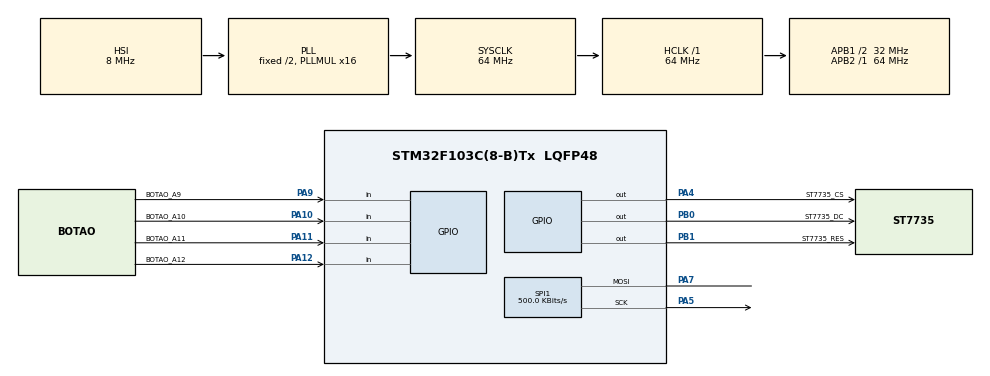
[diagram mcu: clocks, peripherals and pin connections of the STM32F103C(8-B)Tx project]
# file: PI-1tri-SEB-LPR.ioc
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Mcu.Family=STM32F1
Mcu.Name=STM32F103C(8-B)Tx
Mcu.Package=LQFP48
NVIC.PriorityGroup=NVIC_PRIORITYGROUP_4
PA10.GPIO_Label=BOTAO_A10
PA10.GPIO_PuPd=GPIO_PULLUP
PA10.Signal=GPIO_Input
PA11.GPIO_Label=BOTAO_A11
PA11.GPIO_PuPd=GPIO_PULLUP
PA11.Signal=GPIO_Input
PA12.GPIO_Label=BOTAO_A12
PA12.GPIO_PuPd=GPIO_PULLUP
PA12.Signal=GPIO_Input
PA13.Mode=Serial_Wire
PA13.Signal=SYS_JTMS-SWDIO
PA14.Mode=Serial_Wire
PA14.Signal=SYS_JTCK-SWCLK
PA4.GPIO_Label=ST7735_CS
PA4.Signal=GPIO_Output
PA5.Mode=Simplex_Bidirectional_Master
PA5.Signal=SPI1_SCK
PA7.Mode=Simplex_Bidirectional_Master
PA7.Signal=SPI1_MOSI
PA9.GPIO_Label=BOTAO_A9
PA9.GPIO_PuPd=GPIO_PULLUP
PA9.Signal=GPIO_Input
PB0.GPIO_Label=ST7735_DC
PB0.Signal=GPIO_Output
PB1.GPIO_Label=ST7735_RES
PB1.Signal=GPIO_Output
ProjectManager.HeapSize=0x200
ProjectManager.StackSize=0x400
ProjectManager.TargetToolchain=STM32CubeIDE
RCC.AHBFreq_Value=64000000
RCC.APB1CLKDivider=RCC_HCLK_DIV2
RCC.APB1Freq_Value=32000000
RCC.APB1TimFreq_Value=64000000
RCC.APB2Freq_Value=64000000
RCC.APB2TimFreq_Value=64000000
RCC.HCLKFreq_Value=64000000
RCC.PLLMUL=RCC_PLL_MUL16
RCC.SYSCLKFreq_VALUE=64000000
RCC.SYSCLKSource=RCC_SYSCLKSOURCE_PLLCLK
RCC.USBFreq_Value=64000000
SPI1.BaudRatePrescaler=SPI_BAUDRATEPRESCALER_128
SPI1.CalculateBaudRate=500.0 KBits/s
SPI1.Direction=SPI_DIRECTION_1LINE
SPI1.Mode=SPI_MODE_MASTER
SPI1.VirtualType=VM_MASTER
board=custom

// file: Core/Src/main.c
/* USER CODE BEGIN Header */
/**
  ******************************************************************************
  * @file           : main.c
  * @brief          : Main program body
  ******************************************************************************
  * @attention
  *
  * <h2><center>&copy; Copyright (c) 2026 STMicroelectronics.
  * All rights reserved.</center></h2>
  *
  * This software component is licensed by ST under BSD 3-Clause license,
  * the "License"; You may not use this file except in compliance with the
  * License. You may obtain a copy of the License at:
  *                        opensource.org/licenses/BSD-3-Clause
  *
  ******************************************************************************
  */
/* USER CODE END Header */
#include "main.h"

/* USER CODE BEGIN Includes */
#include <stdio.h>
#include <stdlib.h>
#include "st7735\st7735.h"
/* USER CODE END Includes */

/* USER CODE BEGIN PD */
// Comandos de Leitura dos botões
#define LER_BOTAO_A9		HAL_GPIO_ReadPin(BOTAO_A9_GPIO_Port, BOTAO_A9_Pin)
#define LER_BOTAO_A10		HAL_GPIO_ReadPin(BOTAO_A10_GPIO_Port, BOTAO_A10_Pin)
#define LER_BOTAO_A11		HAL_GPIO_ReadPin(BOTAO_A11_GPIO_Port, BOTAO_A11_Pin)
#define LER_BOTAO_A12		HAL_GPIO_ReadPin(BOTAO_A12_GPIO_Port, BOTAO_A12_Pin)
// Cores RGB565
#define ST7735_PRETO   		0x0000
#define ST7735_BRANCO   	0xFFFF
#define ST7735_VERMELHO     0xF800
#define ST7735_AZUL    		0x1F9D
#define ST7735_VERDE  		0x07D3
#define ST7735_VERDE2		0x0461
/* USER CODE END PD */

SPI_HandleTypeDef hspi1;

/* USER CODE BEGIN PV */
GPIO_PinState botaoA9, botaoA10, botaoA11, botaoA12;
int qtdeAlunos, tentativas, senha[4], entrada[4], matriculaLida;
int alunosPresentes = 0, totalSaidas = 0, alunosFora = 0, totalBloqueios = 0;
int presentesAnterior = -1, foraAnterior = -1;
char alunos[30], segundos[5]; // Textos
int maxFora = 3; // Limites de aluno fora de sala
/* USER CODE END PV */

void SystemClock_Config(void);
static void MX_GPIO_Init(void);
static void MX_SPI1_Init(void);
/* USER CODE BEGIN PFP */
void menuBemVindo(void);
int etapa1(void);
void etapa2(void);
void etapa3(void);
void menuSenha(void);
void menuQtdeAlunos(void);
void menuAula(void);
void menuMatricula(void);
void atualizarAlunos(void);
/* USER CODE END PFP */

int main(void)
{

  /* MCU Configuration--------------------------------------------------------*/

  /* Reset of all peripherals, Initializes the Flash interface and the Systick. */
  HAL_Init();

  /* Configure the system clock */
  SystemClock_Config();

  /* Initialize all configured peripherals */
  MX_GPIO_Init();
  MX_SPI1_Init();
  /* USER CODE BEGIN 2 */
  ST7735_Init();
  /* USER CODE END 2 */

  /* Infinite loop */
  /* USER CODE BEGIN WHILE */
  while (1)
  {
	  HAL_Delay(100);
	  menuBemVindo();

	  if (etapa1()) { // Só avança se a senha estiver correta
		  etapa2();
		  etapa3();
	  }
    /* USER CODE END WHILE */

  }
}

void SystemClock_Config(void)
{
  RCC_OscInitTypeDef RCC_OscInitStruct = {0};
  RCC_ClkInitTypeDef RCC_ClkInitStruct = {0};

  /** Initializes the RCC Oscillators according to the specified parameters
  * in the RCC_OscInitTypeDef structure.
  */
  RCC_OscInitStruct.OscillatorType = RCC_OSCILLATORTYPE_HSI;
  RCC_OscInitStruct.HSIState = RCC_HSI_ON;
  RCC_OscInitStruct.HSICalibrationValue = RCC_HSICALIBRATION_DEFAULT;
  RCC_OscInitStruct.PLL.PLLState = RCC_PLL_ON;
  RCC_OscInitStruct.PLL.PLLSource = RCC_PLLSOURCE_HSI_DIV2;
  RCC_OscInitStruct.PLL.PLLMUL = RCC_PLL_MUL16;
  if (HAL_RCC_OscConfig(&RCC_OscInitStruct) != HAL_OK)
  {
    Error_Handler();
  }
  /** Initializes the CPU, AHB and APB buses clocks
  */
  RCC_ClkInitStruct.ClockType = RCC_CLOCKTYPE_HCLK|RCC_CLOCKTYPE_SYSCLK
                              |RCC_CLOCKTYPE_PCLK1|RCC_CLOCKTYPE_PCLK2;
  RCC_ClkInitStruct.SYSCLKSource = RCC_SYSCLKSOURCE_PLLCLK;
  RCC_ClkInitStruct.AHBCLKDivider = RCC_SYSCLK_DIV1;
  RCC_ClkInitStruct.APB1CLKDivider = RCC_HCLK_DIV2;
  RCC_ClkInitStruct.APB2CLKDivider = RCC_HCLK_DIV1;

  if (HAL_RCC_ClockConfig(&RCC_ClkInitStruct, FLASH_LATENCY_2) != HAL_OK)
  {
    Error_Handler();
  }
}

static void MX_SPI1_Init(void)
{

  /* SPI1 parameter configuration*/
  hspi1.Instance = SPI1;
  hspi1.Init.Mode = SPI_MODE_MASTER;
  hspi1.Init.Direction = SPI_DIRECTION_1LINE;
  hspi1.Init.DataSize = SPI_DATASIZE_8BIT;
  hspi1.Init.CLKPolarity = SPI_POLARITY_LOW;
  hspi1.Init.CLKPhase = SPI_PHASE_1EDGE;
  hspi1.Init.NSS = SPI_NSS_SOFT;
  hspi1.Init.BaudRatePrescaler = SPI_BAUDRATEPRESCALER_128;
  hspi1.Init.FirstBit = SPI_FIRSTBIT_MSB;
  hspi1.Init.TIMode = SPI_TIMODE_DISABLE;
  hspi1.Init.CRCCalculation = SPI_CRCCALCULATION_DISABLE;
  hspi1.Init.CRCPolynomial = 10;
  if (HAL_SPI_Init(&hspi1) != HAL_OK)
  {
    Error_Handler();
  }

}

static void MX_GPIO_Init(void)
{
  GPIO_InitTypeDef GPIO_InitStruct = {0};

  /* GPIO Ports Clock Enable */
  __HAL_RCC_GPIOA_CLK_ENABLE();
  __HAL_RCC_GPIOB_CLK_ENABLE();

  /*Configure GPIO pin Output Level */
  HAL_GPIO_WritePin(ST7735_CS_GPIO_Port, ST7735_CS_Pin, GPIO_PIN_RESET);

  /*Configure GPIO pin Output Level */
  HAL_GPIO_WritePin(GPIOB, ST7735_DC_Pin|ST7735_RES_Pin, GPIO_PIN_RESET);

  /*Configure GPIO pin : ST7735_CS_Pin */
  GPIO_InitStruct.Pin = ST7735_CS_Pin;
  GPIO_InitStruct.Mode = GPIO_MODE_OUTPUT_PP;
  GPIO_InitStruct.Pull = GPIO_NOPULL;
  GPIO_InitStruct.Speed = GPIO_SPEED_FREQ_LOW;
  HAL_GPIO_Init(ST7735_CS_GPIO_Port, &GPIO_InitStruct);

  /*Configure GPIO pins : ST7735_DC_Pin ST7735_RES_Pin */
  GPIO_InitStruct.Pin = ST7735_DC_Pin|ST7735_RES_Pin;
  GPIO_InitStruct.Mode = GPIO_MODE_OUTPUT_PP;
  GPIO_InitStruct.Pull = GPIO_NOPULL;
  GPIO_InitStruct.Speed = GPIO_SPEED_FREQ_LOW;
  HAL_GPIO_Init(GPIOB, &GPIO_InitStruct);

  /*Configure GPIO pins : BOTAO_A9_Pin BOTAO_A10_Pin BOTAO_A11_Pin BOTAO_A12_Pin */
  GPIO_InitStruct.Pin = BOTAO_A9_Pin|BOTAO_A10_Pin|BOTAO_A11_Pin|BOTAO_A12_Pin;
  GPIO_InitStruct.Mode = GPIO_MODE_INPUT;
  GPIO_InitStruct.Pull = GPIO_PULLUP;
  HAL_GPIO_Init(GPIOA, &GPIO_InitStruct);

}

/* USER CODE BEGIN 4 */
  void menuBemVindo(void) {
	  ST7735_FillScreen(ST7735_PRETO);
	  ST7735_WriteString(8, 10, "Bem-vindo ao sistema", Font_7x10, ST7735_BRANCO, ST7735_PRETO);
	  ST7735_WriteString(8, 23, "gerenciador de aulas", Font_7x10, ST7735_BRANCO, ST7735_PRETO);
	  ST7735_WriteString(31, 45, "Pressione PA10", Font_7x10, ST7735_VERDE, ST7735_PRETO);
	  ST7735_WriteString(38, 58, "para iniciar", Font_7x10, ST7735_VERDE, ST7735_PRETO);
  }

  int etapa1(void) {
	  botaoA10 = LER_BOTAO_A10;
	  while (botaoA10 != GPIO_PIN_RESET) {
		  botaoA10 = LER_BOTAO_A10;
	  }
	  HAL_Delay(100);
	  while (botaoA10 == GPIO_PIN_RESET) {
		  botaoA10 = LER_BOTAO_A10;
	  }

	  uint32_t seed = HAL_GetTick(); // Gerar seed para senha aleatória
	  srand(seed);

	  for (int i = 0; i < 4; i++) {
		  senha[i] = (rand() % 4) + 1; // Senha aleatória de 4 dígitos
		  entrada[i] = 0;
	  }

	  tentativas = 0;

	  while (1) {
		  int indice = 0;
		  HAL_Delay(100);
		  menuSenha();

		  while (indice < 4) {
			  botaoA9 = LER_BOTAO_A9;
			  botaoA10 = LER_BOTAO_A10;
			  botaoA11 = LER_BOTAO_A11;
			  botaoA12 = LER_BOTAO_A12;

			  if (botaoA9 == GPIO_PIN_RESET) {
				  HAL_Delay(100);
				  while (botaoA9 == GPIO_PIN_RESET) {
					  botaoA9 = LER_BOTAO_A9;
				  }
				  entrada[indice++] = 1;
				  switch (indice) {
				  case 1:
					  ST7735_WriteString(50, 63, "1", Font_7x10, ST7735_BRANCO, ST7735_PRETO); break;
				  case 2:
					  ST7735_WriteString(59, 63, "1", Font_7x10, ST7735_BRANCO, ST7735_PRETO); break;
				  case 3:
					  ST7735_WriteString(68, 63, "1", Font_7x10, ST7735_BRANCO, ST7735_PRETO); break;
				  case 4:
					  ST7735_WriteString(77, 63, "1", Font_7x10, ST7735_BRANCO, ST7735_PRETO); break;
				  }
			  }
			  else if (botaoA10 == GPIO_PIN_RESET) {
				  HAL_Delay(100);
				  while (botaoA10 == GPIO_PIN_RESET) {
					  botaoA10 = LER_BOTAO_A10;
				  }
				  entrada[indice++] = 2;
				  switch (indice) {
				  case 1:
					  ST7735_WriteString(50, 63, "2", Font_7x10, ST7735_BRANCO, ST7735_PRETO); break;
				  case 2:
					  ST7735_WriteString(59, 63, "2", Font_7x10, ST7735_BRANCO, ST7735_PRETO); break;
			  	  case 3:
			  		  ST7735_WriteString(68, 63, "2", Font_7x10, ST7735_BRANCO, ST7735_PRETO); break;
			  	  case 4:
			  		  ST7735_WriteString(77, 63, "2", Font_7x10, ST7735_BRANCO, ST7735_PRETO); break;
				  }
			  }
			  else if (botaoA11 == GPIO_PIN_RESET) {
				  HAL_Delay(100);
				  while (botaoA11 == GPIO_PIN_RESET) {
					  botaoA11 = LER_BOTAO_A11;
				  }
				  entrada[indice++] = 3;
				  switch (indice) {
				  case 1:
					  ST7735_WriteString(50, 63, "3", Font_7x10, ST7735_BRANCO, ST7735_PRETO); break;
				  case 2:
					  ST7735_WriteString(59, 63, "3", Font_7x10, ST7735_BRANCO, ST7735_PRETO); break;
				  case 3:
					  ST7735_WriteString(68, 63, "3", Font_7x10, ST7735_BRANCO, ST7735_PRETO); break;
				  case 4:
					  ST7735_WriteString(77, 63, "3", Font_7x10, ST7735_BRANCO, ST7735_PRETO); break;
				  }
			  }
			  else if (botaoA12 == GPIO_PIN_RESET) {
				  HAL_Delay(100);
				  while (botaoA12 == GPIO_PIN_RESET) {
					  botaoA12 = LER_BOTAO_A12;
				  }
				  entrada[indice++] = 4;
				  switch (indice) {
				  case 1:
					  ST7735_WriteString(50, 63, "4", Font_7x10, ST7735_BRANCO, ST7735_PRETO); break;
			  	  case 2:
			  		  ST7735_WriteString(59, 63, "4", Font_7x10, ST7735_BRANCO, ST7735_PRETO); break;
			  	  case 3:
			  		  ST7735_WriteString(68, 63, "4", Font_7x10, ST7735_BRANCO, ST7735_PRETO); break;
			  	  case 4:
			  		  ST7735_WriteString(77, 63, "4", Font_7x10, ST7735_BRANCO, ST7735_PRETO); break;
				  }
			  }
		  }

		  _Bool correto = 1;
		  for (int i = 0; i < 4; i++) { // Conferência da senha dígito por dígito
			  if (entrada[i] != senha[i]) {
				  correto = 0;
				  break;
			  }
		  }

		  if (correto) {
			  ST7735_FillScreen(ST7735_PRETO);
			  ST7735_WriteString(25, 35, "Acesso liberado", Font_7x10, ST7735_VERDE, ST7735_PRETO);
			  HAL_Delay(2000);
			  return 1;
		  }
		  else {
			  tentativas++;
			  if (tentativas >= 3) {
				  totalBloqueios++;
				  if (totalBloqueios >= 2) {
					  ST7735_FillScreen(ST7735_PRETO);
					  ST7735_WriteString(18, 25, "Sistema bloqueado", Font_7x10, ST7735_VERMELHO, ST7735_PRETO);
					  ST7735_WriteString(13, 43, "TEMPO INDETERMINADO", Font_7x10, ST7735_VERMELHO, ST7735_PRETO);
					  while (1) { // Bloqueio permanente - Reiniciar placa
					  }
				  }
				  ST7735_FillScreen(ST7735_PRETO);
				  ST7735_WriteString(18, 20, "Sistema bloqueado", Font_7x10, ST7735_VERMELHO, ST7735_PRETO);
				  ST7735_WriteString(21, 38, "Voltando ao menu", Font_7x10, ST7735_VERMELHO, ST7735_PRETO);

				  for (int i = 15; i > 0; i--) { // Bloqueio de 15 segundos
					  sprintf(segundos, "%d", i);
					  ST7735_WriteString(75, 56, segundos, Font_7x10, ST7735_VERMELHO, ST7735_PRETO);
					  HAL_Delay(1000);
					  ST7735_WriteString(75, 56, "   ", Font_7x10, ST7735_PRETO, ST7735_PRETO);
				  }
				  tentativas = 0;
				  return 0; // Volta ao menu de bem-vindo
			  }
			  else {
				  ST7735_FillScreen(ST7735_PRETO);
				  ST7735_WriteString(25, 25, "Senha incorreta", Font_7x10, ST7735_VERMELHO, ST7735_PRETO);
				  ST7735_WriteString(25, 43, "Tente novamente", Font_7x10, ST7735_VERMELHO, ST7735_PRETO);
				  HAL_Delay(3000);
			  }
		  }
	  }
  }

  void etapa2(void) {
	  qtdeAlunos = 0;
	  HAL_Delay(100);
	  menuQtdeAlunos();

	  while (1) {
		  botaoA9 = LER_BOTAO_A9;
		  botaoA10 = LER_BOTAO_A10;
		  botaoA11 = LER_BOTAO_A11;
		  botaoA12 = LER_BOTAO_A12;

		  if (botaoA9 == GPIO_PIN_RESET) {
			  HAL_Delay(100);
			  while (botaoA9 == GPIO_PIN_RESET) {
				  botaoA9 = LER_BOTAO_A9;
			  }
			  qtdeAlunos += 5;
			  sprintf(alunos, "%d ", qtdeAlunos);
			  ST7735_WriteString(50, 65, alunos, Font_7x10, ST7735_BRANCO, ST7735_PRETO);
		  }
		  else if (botaoA10 == GPIO_PIN_RESET) {
			  HAL_Delay(100);
			  while (botaoA10 == GPIO_PIN_RESET) {
				  botaoA10 = LER_BOTAO_A10;
			  }
			  qtdeAlunos += 1;
			  sprintf(alunos, "%d ", qtdeAlunos);
			  ST7735_WriteString(50, 65, alunos, Font_7x10, ST7735_BRANCO, ST7735_PRETO);
		  }
		  else if (botaoA11 == GPIO_PIN_RESET) {
			  HAL_Delay(100);
			  while (botaoA11 == GPIO_PIN_RESET) {
				  botaoA11 = LER_BOTAO_A11;
			  }
			  if (qtdeAlunos > 0) {
				  qtdeAlunos -= 1;
				  sprintf(alunos, "%d ", qtdeAlunos);
				  ST7735_WriteString(50, 65, alunos, Font_7x10, ST7735_BRANCO, ST7735_PRETO);
			  }
			  else {
				  ST7735_FillScreen(ST7735_PRETO);
				  ST7735_WriteString(62, 25, "Erro:", Font_7x10, ST7735_VERMELHO, ST7735_PRETO);
				  ST7735_WriteString(13, 43, "Quantidade negativa", Font_7x10, ST7735_VERMELHO, ST7735_PRETO);
				  HAL_Delay(2000);
				  menuQtdeAlunos();
			  }
		  }
		  else if (botaoA12 == GPIO_PIN_RESET) {
			  HAL_Delay(100);
			  while (botaoA12 == GPIO_PIN_RESET) {
				  botaoA12 = LER_BOTAO_A12;
			  }
			  if (qtdeAlunos > 0) { // Mínimo de 1 aluno na turma
				  sprintf(alunos, "com %d alunos", qtdeAlunos);
				  ST7735_FillScreen(ST7735_PRETO);
				  ST7735_WriteString(24, 25, "Turma confirmada", Font_7x10, ST7735_VERDE, ST7735_PRETO);
				  ST7735_WriteString(35, 43, alunos, Font_7x10, ST7735_VERDE, ST7735_PRETO);
				  HAL_Delay(2000);
				  break;
			  }
			  else {
				  ST7735_FillScreen(ST7735_PRETO);
				  ST7735_WriteString(62, 25, "Erro:", Font_7x10, ST7735_VERMELHO, ST7735_PRETO);
				  ST7735_WriteString(31, 43, "Minimo 1 aluno", Font_7x10, ST7735_VERMELHO, ST7735_PRETO);
				  HAL_Delay(2000);
				  menuQtdeAlunos();
			  }
		  }
	  }
  }

  void etapa3() {
	  alunosPresentes = 0;
	  totalSaidas = 0;
	  alunosFora = 0;
	  _Bool aulaEmCurso = 1;
	  uint32_t inicioAula = HAL_GetTick(); // Tempo de início da aula

	  HAL_Delay(100);
	  menuAula();

	  while (aulaEmCurso) { // Só atualiza a barra se os valores tiverem sido alterados
		  if (alunosPresentes != presentesAnterior || alunosFora != foraAnterior) {
			  atualizarAlunos();
		  }

		  botaoA9 = LER_BOTAO_A9;
		  botaoA10 = LER_BOTAO_A10;
		  botaoA11 = LER_BOTAO_A11;
		  botaoA12 = LER_BOTAO_A12;

		  if (botaoA9 == GPIO_PIN_RESET) { // Entrada de aluno
			  HAL_Delay(100);
			  while (botaoA9 == GPIO_PIN_RESET) {
				  botaoA9 = LER_BOTAO_A9;
	  		  }
	  		  if (alunosPresentes < qtdeAlunos) { // Não pode exceder o limite
	  			menuMatricula();
	  			matriculaLida = 99999;

	  			// Simulação de leitor de matrícula - Espera variável no Debug
	  			while (matriculaLida == 99999) {
	  				botaoA11 = LER_BOTAO_A11;
	  				botaoA12 = LER_BOTAO_A12;
	  				if (botaoA11 == GPIO_PIN_RESET && botaoA12 == GPIO_PIN_RESET) {
	  					HAL_Delay(100);
	  					botaoA11 = LER_BOTAO_A11;
	  					botaoA12 = LER_BOTAO_A12;
	  					if (botaoA11 == GPIO_PIN_RESET && botaoA12 == GPIO_PIN_RESET) {
	  						while (botaoA11 == GPIO_PIN_RESET || botaoA12 == GPIO_PIN_RESET) {
	  							botaoA11 = LER_BOTAO_A11;
	  							botaoA12 = LER_BOTAO_A12;
	  						}
	  						matriculaLida = 9999; // Valor padrão caso não digite nada
	  					}
	  				}
	  			}

	  			if (matriculaLida == 9999) {
	  				alunosPresentes++;
	  				ST7735_FillScreen(ST7735_PRETO);
	  				ST7735_WriteString(17, 38, "Entrada confirmada", Font_7x10, ST7735_VERDE, ST7735_PRETO);
	  				HAL_Delay(2000);
	  			}
	  			else if (matriculaLida == 0) {
	  				ST7735_FillScreen(ST7735_PRETO);
	  				ST7735_WriteString(62, 25, "Erro:", Font_7x10, ST7735_VERMELHO, ST7735_PRETO);
	  				ST7735_WriteString(17, 43, "Matricula invalida", Font_7x10, ST7735_VERMELHO, ST7735_PRETO);
	  				HAL_Delay(2000);
	  			}
	  			else {
	  				alunosPresentes++;
	  				ST7735_FillScreen(ST7735_PRETO);
	  				ST7735_WriteString(17, 25, "Entrada confirmada", Font_7x10, ST7735_VERDE, ST7735_PRETO);
	  				sprintf(alunos, "Matricula: %d", matriculaLida);
	  				ST7735_WriteString(27, 43, alunos, Font_7x10, ST7735_BRANCO, ST7735_PRETO);
	  				HAL_Delay(2000);
	  			}
	  			matriculaLida = 0;
	  			HAL_Delay(100);
	  			menuAula();
	  		  }
	  		  else {
	  			  ST7735_FillScreen(ST7735_PRETO);
	  			  ST7735_WriteString(62, 25, "Erro:", Font_7x10, ST7735_VERMELHO, ST7735_PRETO);
	  		      ST7735_WriteString(38, 43, "Turma lotada", Font_7x10, ST7735_VERMELHO, ST7735_PRETO);
	  			  HAL_Delay(2000);
	  			  menuAula();
	  		  }
	  	  }
		  else if (botaoA10 == GPIO_PIN_RESET) { // Saída de aluno
	  		  HAL_Delay(100);
	  		  while (botaoA10 == GPIO_PIN_RESET) {
	  			botaoA10 = LER_BOTAO_A10;
	  		  }
	  		  if (alunosFora >= maxFora) { // Não sair mais do que o permitido
	  			  ST7735_FillScreen(ST7735_PRETO);
	  			  sprintf(alunos, "Maximo %d fora", maxFora);
	  			  ST7735_WriteString(62, 25, "Erro:", Font_7x10, ST7735_VERMELHO, ST7735_PRETO);
	  			  ST7735_WriteString(34, 43, alunos, Font_7x10, ST7735_VERMELHO, ST7735_PRETO);
	  		  }
	  		  else if (alunosPresentes <= alunosFora) {
	  			  ST7735_FillScreen(ST7735_PRETO);
	  			  ST7735_WriteString(62, 25, "Erro:", Font_7x10, ST7735_VERMELHO, ST7735_PRETO);
	  			  ST7735_WriteString(45, 43, "Sala vazia", Font_7x10, ST7735_VERMELHO, ST7735_PRETO);
	  		  }
	  		  else {
	  			  ST7735_FillScreen(ST7735_PRETO);
	  			  ST7735_WriteString(31, 38, "Saida liberada", Font_7x10, ST7735_VERDE, ST7735_PRETO);
	  			  alunosFora++;
	  			  totalSaidas++;
	  		  }
	  		  HAL_Delay(2000);
	  		  menuAula();
	  	  }
		  // PA11+PA12 encerra aula - PA11 retorna aluno
		  else if (botaoA11 == GPIO_PIN_RESET || botaoA12 == GPIO_PIN_RESET) {
			  HAL_Delay(100);
			  botaoA11 = LER_BOTAO_A11;
			  botaoA12 = LER_BOTAO_A12;
	  		  if (botaoA11 == GPIO_PIN_RESET && botaoA12 == GPIO_PIN_RESET) {
	  			  botaoA11 = LER_BOTAO_A11;
	  			  botaoA12 = LER_BOTAO_A12;
	  			  while (botaoA11 == GPIO_PIN_RESET || botaoA12 == GPIO_PIN_RESET) {
	  				botaoA11 = LER_BOTAO_A11;
	  				botaoA12 = LER_BOTAO_A12;
	  			  }
	  			  if (alunosFora > 0) { // Impede encerrar a aula com alunos para fora
	  				  ST7735_FillScreen(ST7735_PRETO);
	  				  ST7735_WriteString(20, 25, "Nao pode encerrar", Font_7x10, ST7735_VERMELHO, ST7735_PRETO);
	  				  ST7735_WriteString(27, 43, "com alunos fora", Font_7x10, ST7735_VERMELHO, ST7735_PRETO);
	  				  HAL_Delay(2000);
	  				  menuAula();
	  			  }
	  		      else {
	  				  aulaEmCurso = 0; // Quebra o while de execução da aula
	  			  }
	  		  }
	  		  else if (botaoA11 == GPIO_PIN_RESET) {
	  			  while (botaoA11 == GPIO_PIN_RESET) {
	  				botaoA11 = LER_BOTAO_A11;
	  			  }
	  			  if (alunosFora > 0) {
	  				  ST7735_FillScreen(ST7735_PRETO);
	  				  ST7735_WriteString(24, 38, "Volta registrada", Font_7x10, ST7735_VERDE, ST7735_PRETO);
	  				  alunosFora--;
	  			  }
	  			  else {
	  				  ST7735_FillScreen(ST7735_PRETO);
	  				  ST7735_WriteString(62, 25, "Erro:", Font_7x10, ST7735_VERMELHO, ST7735_PRETO);
	  				  ST7735_WriteString(38, 43, "Ninguem fora", Font_7x10, ST7735_VERMELHO, ST7735_PRETO);
	  			  }
	  			  HAL_Delay(2000);
	  			  menuAula();
	  		  }
	  		  else if (botaoA12 == GPIO_PIN_RESET) {
	  			  while (botaoA12 == GPIO_PIN_RESET) {
	  				botaoA12 = LER_BOTAO_A12;
	  			  }
	  		  }
	  	  }
	  }

	  uint32_t fimAula = HAL_GetTick(); // Tempo de fim da aula
	  uint32_t tempoAula = (fimAula - inicioAula) / 1000; // Cálculo do tempo em segundos
	  int minutos = tempoAula / 60;
	  int segs = tempoAula % 60;

	  ST7735_FillScreen(ST7735_PRETO);
	  ST7735_WriteString(31, 10, "AULA ENCERRADA", Font_7x10, ST7735_VERMELHO, ST7735_PRETO);

	  ST7735_WriteString(5, 25, "Total Registrados:", Font_7x10, ST7735_AZUL, ST7735_PRETO);
	  sprintf(alunos, "%d", alunosPresentes);
	  ST7735_WriteString(138, 25, alunos, Font_7x10, ST7735_BRANCO, ST7735_PRETO);

	  ST7735_WriteString(5, 37, "Total de Saidas:", Font_7x10, ST7735_AZUL, ST7735_PRETO);
	  sprintf(alunos, "%d", totalSaidas);
	  ST7735_WriteString(124, 37, alunos, Font_7x10, ST7735_BRANCO, ST7735_PRETO);

	  ST7735_WriteString(5, 49, "Tempo de Aula:", Font_7x10, ST7735_AZUL, ST7735_PRETO);
	  sprintf(alunos, "%d:%02d", minutos, segs);
	  ST7735_WriteString(110, 49, alunos, Font_7x10, ST7735_BRANCO, ST7735_PRETO);

	  ST7735_WriteString(5, 65, "Reiniciando...", Font_7x10, ST7735_VERMELHO, ST7735_PRETO);
	  HAL_Delay(20000);
  }

  void menuSenha() {
	  ST7735_FillScreen(ST7735_PRETO);
	  ST7735_WriteString(5, 5, "Digite a senha:", Font_7x10, ST7735_VERDE, ST7735_PRETO);
	  ST7735_WriteString(5, 30, "PA9:  ", Font_7x10, ST7735_AZUL, ST7735_PRETO);
	  ST7735_WriteString(42, 30, "1", Font_7x10, ST7735_BRANCO, ST7735_PRETO);
	  ST7735_WriteString(5, 42, "PA10: ", Font_7x10, ST7735_AZUL, ST7735_PRETO);
	  ST7735_WriteString(42, 42, "2", Font_7x10, ST7735_BRANCO, ST7735_PRETO);
	  ST7735_WriteString(80, 30, "PA11: ", Font_7x10, ST7735_AZUL, ST7735_PRETO);
	  ST7735_WriteString(117, 30, "3", Font_7x10, ST7735_BRANCO, ST7735_PRETO);
	  ST7735_WriteString(80, 42, "PA12: ", Font_7x10, ST7735_AZUL, ST7735_PRETO);
	  ST7735_WriteString(117, 42, "4", Font_7x10, ST7735_BRANCO, ST7735_PRETO);
	  ST7735_WriteString(5, 65, "Senha:", Font_7x10, ST7735_VERDE, ST7735_PRETO);
	  ST7735_WriteString(50, 65, "_", Font_7x10, ST7735_BRANCO, ST7735_PRETO);
	  ST7735_WriteString(59, 65, "_", Font_7x10, ST7735_BRANCO, ST7735_PRETO);
	  ST7735_WriteString(68, 65, "_", Font_7x10, ST7735_BRANCO, ST7735_PRETO);
	  ST7735_WriteString(77, 65, "_", Font_7x10, ST7735_BRANCO, ST7735_PRETO);
  }

  void menuQtdeAlunos() {
	  ST7735_FillScreen(ST7735_PRETO);
	  ST7735_WriteString(5, 5, "Quantidade de alunos", Font_7x10, ST7735_VERDE, ST7735_PRETO);
	  ST7735_WriteString(5, 30, "PA9:  ", Font_7x10, ST7735_AZUL, ST7735_PRETO);
	  ST7735_WriteString(42, 30, "+5", Font_7x10, ST7735_BRANCO, ST7735_PRETO);
	  ST7735_WriteString(5, 42, "PA10: ", Font_7x10, ST7735_AZUL, ST7735_PRETO);
	  ST7735_WriteString(42, 42, "+1", Font_7x10, ST7735_BRANCO, ST7735_PRETO);
	  ST7735_WriteString(80, 30, "PA11: ", Font_7x10, ST7735_AZUL, ST7735_PRETO);
	  ST7735_WriteString(117, 30, "-1", Font_7x10, ST7735_BRANCO, ST7735_PRETO);
	  ST7735_WriteString(80, 42, "PA12: ", Font_7x10, ST7735_AZUL, ST7735_PRETO);
	  ST7735_WriteString(117, 42, "OK", Font_7x10, ST7735_BRANCO, ST7735_PRETO);
	  ST7735_WriteString(5, 65, "Total:    alunos", Font_7x10, ST7735_VERDE, ST7735_PRETO);
	  sprintf(alunos, "%d ", qtdeAlunos);
	  ST7735_WriteString(50, 65, alunos, Font_7x10, ST7735_BRANCO, ST7735_PRETO);
  }

  void menuAula() {
	  ST7735_FillScreen(ST7735_PRETO);
	  ST7735_WriteString(5, 5, "Presentes:", Font_7x10, ST7735_AZUL, ST7735_PRETO);
	  ST7735_WriteString(5, 17, "Fora de sala:", Font_7x10, ST7735_AZUL, ST7735_PRETO);
	  ST7735_WriteString(5, 29, "PA9:", Font_7x10, ST7735_AZUL, ST7735_PRETO);
	  ST7735_WriteString(40, 29, "Chegada", Font_7x10, ST7735_BRANCO, ST7735_PRETO);
	  ST7735_WriteString(5, 41, "PA10:", Font_7x10, ST7735_AZUL, ST7735_PRETO);
	  ST7735_WriteString(47, 41, "Saida", Font_7x10, ST7735_BRANCO, ST7735_PRETO);
	  ST7735_WriteString(5, 53, "PA11:", Font_7x10, ST7735_AZUL, ST7735_PRETO);
	  ST7735_WriteString(47, 53, "Volta", Font_7x10, ST7735_BRANCO, ST7735_PRETO);
	  ST7735_WriteString(5, 65, "PA11+PA12:", Font_7x10, ST7735_AZUL, ST7735_PRETO);
	  ST7735_WriteString(82, 65, "Fim", Font_7x10, ST7735_BRANCO, ST7735_PRETO);

	  presentesAnterior = -1; // Reseta os estados de controle
	  foraAnterior = -1;
  }

  void menuMatricula() {
	  ST7735_FillScreen(ST7735_PRETO);
	  ST7735_WriteString(17, 15, "Cadastro Matricula", Font_7x10, ST7735_VERDE, ST7735_PRETO);
	  ST7735_WriteString(10, 27, "Insira ID pelo Debug", Font_7x10, ST7735_VERDE, ST7735_PRETO);
	  ST7735_WriteString(38, 45, "ou pressione", Font_7x10, ST7735_AZUL, ST7735_PRETO);
	  ST7735_WriteString(10, 57, "PA11+PA12 para pular", Font_7x10, ST7735_AZUL, ST7735_PRETO);
  }

  void atualizarAlunos() {
	  sprintf(alunos, "%d / %d ", alunosPresentes, qtdeAlunos);
	  ST7735_WriteString(82, 5, alunos, Font_7x10, ST7735_BRANCO, ST7735_PRETO);

	  // Barra vertical de preenchimento da sala
	  int alturaVerde = (alunosPresentes * (70 - 2)) / qtdeAlunos;
	  ST7735_FillRectangle(148, 5, 7, 70, ST7735_BRANCO); // Borda

	  if (alturaVerde < (70 - 2)) {
		  int alturaPreta = (70 - 2) - alturaVerde;
		  ST7735_FillRectangle(148 + 1, 5 + 1, 7 - 2, alturaPreta, ST7735_PRETO); // Fundo preto
	  }

	  if (alturaVerde > 0) { // Progresso
	  	  int yVerde = 5 + 70 - 1 - alturaVerde;
	  	  ST7735_FillRectangle(148 + 1, yVerde, 7 - 2, alturaVerde, ST7735_VERDE2);
	  }

	  sprintf(alunos, "%d / %d ", alunosFora, maxFora);
	  ST7735_WriteString(103, 17, alunos, Font_7x10, ST7735_BRANCO, ST7735_PRETO);

	  presentesAnterior = alunosPresentes; // Salva estado atual
	  foraAnterior = alunosFora;
  }
/* USER CODE END 4 */

void Error_Handler(void)
{
  __disable_irq();
  while (1)
  {
  }
}

/************************ (C) COPYRIGHT STMicroelectronics *****END OF FILE****/
